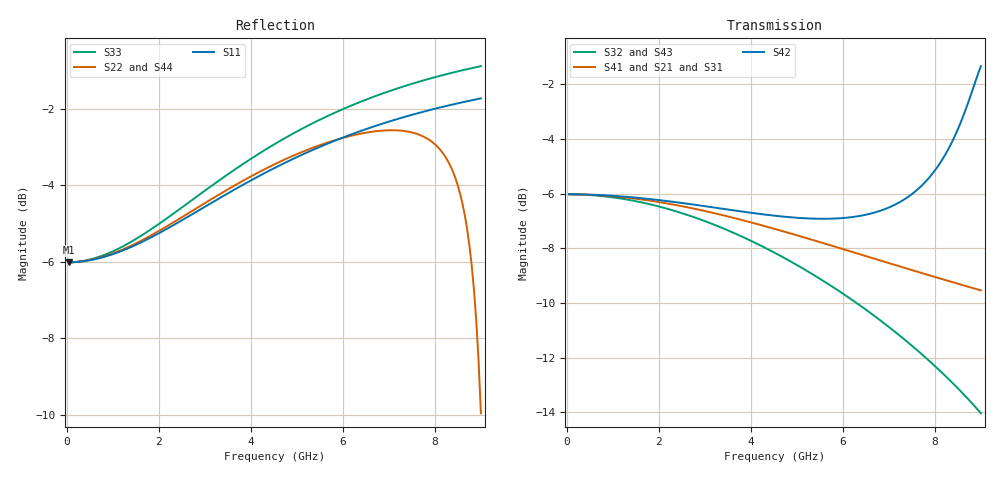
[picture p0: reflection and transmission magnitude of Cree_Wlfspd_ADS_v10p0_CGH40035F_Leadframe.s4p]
!AWR Design Environment (3650) Fri Nov 02 08:09:43 2007
!DC added
!freq-unit  param-type  data-format  keyword  impedance-ohms
# GHz  S  MA  R  50
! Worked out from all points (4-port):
!   115 points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, 50 MHz to 9 GHz, reference 50 ohm
!   strongest paths, dB at 50 MHz, 3.65 GHz, 5.4 GHz, 7.6 GHz, 9 GHz:
!     S42: -6.0, -6.6, -6.9, -5.9, -1.3
!     S41: -6.0, -6.9, -7.7, -8.8, -9.5
!     S21: -6.0, -6.9, -7.7, -8.8, -9.5
!     S31: -6.0, -6.9, -7.8, -9.0, -9.8
!     S32: -6.0, -7.5, -9.0, -11.7, -14.0
!     S43: -6.0, -7.5, -9.0, -11.7, -14.0
!   lowest |S11| = -6.0 dB at 50 MHz (marker M1), VSWR 3.00, Z = 16.7 - j0.132 ohm
!   |S11| at or under -10 dB: nowhere
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0.05  0.5 -179.7  0.5 -0.4  0.5 -0.5  0.5 -0.4
      0.5 -0.4  0.5 -179.7  0.5 -0.4  0.5 -0.5
      0.5 -0.5  0.5 -0.4  0.5 -179.6  0.5 -0.4
      0.5 -0.4  0.5 -0.5  0.5 -0.4  0.5 -179.7
4.25  0.6519 -164.4  0.4383 -35.3  0.4363 -37.1  0.4383 -35.3
      0.4383 -35.3  0.6596 -167.5  0.4013 -32.0  0.4596 -41.9
      0.4363 -37.1  0.4013 -32.0  0.6981 -163.1  0.4011 -31.9
      0.4383 -35.3  0.4596 -41.9  0.4011 -31.9  0.6598 -167.5
6.1  0.7319 -165.4  0.3945 -47.5  0.3905 -50.2  0.3945 -47.5
     0.3945 -47.5  0.7301 -172.6  0.3246 -42.4  0.4531 -59.3
     0.3905 -50.2  0.3246 -42.4  0.7978 -165.6  0.3241 -42.3
     0.3945 -47.5  0.4531 -59.3  0.3241 -42.3  0.7303 -172.6
7.55  0.7812 -167.4  0.3622 -55.8  0.3562 -59.4  0.3621 -55.8
      0.3622 -55.8  0.7381 177.8  0.2619 -48.9  0.5041 -76.7
      0.3562 -59.4  0.2619 -48.9  0.8577 -169.1  0.2612 -48.7
      0.3621 -55.8  0.5041 -76.7  0.2612 -48.7  0.7383 177.8
8.45  0.806 -168.8  0.344 -60.5  0.3365 -64.8  0.3439 -60.5
      0.344 -60.5  0.6435 161.4  0.2228 -52.1  0.6435 -97.0
      0.3365 -64.8  0.2228 -52.1  0.8872 -171.6  0.2221 -51.8
      0.3439 -60.5  0.6435 -97.0  0.2221 -51.8  0.6438 161.5
8.8  0.8146 -169.3  0.3374 -62.3  0.3292 -66.8  0.3372 -62.2
     0.3374 -62.3  0.4957 145.1  0.2074 -53.2  0.7679 -113.5
     0.3292 -66.8  0.2074 -53.2  0.8973 -172.6  0.207 -52.7
     0.3372 -62.2  0.7679 -113.5  0.207 -52.7  0.4961 145.2
9  0.8193 -169.6  0.3337 -63.3  0.3251 -68.0  0.3335 -63.2
   0.3337 -63.3  0.3175 126.3  0.1986 -53.8  0.858 -128.8
   0.3251 -68.0  0.1986 -53.8  0.9027 -173.2  0.1985 -53.2
   0.3335 -63.2  0.858 -128.8  0.1985 -53.2  0.3178 126.5
